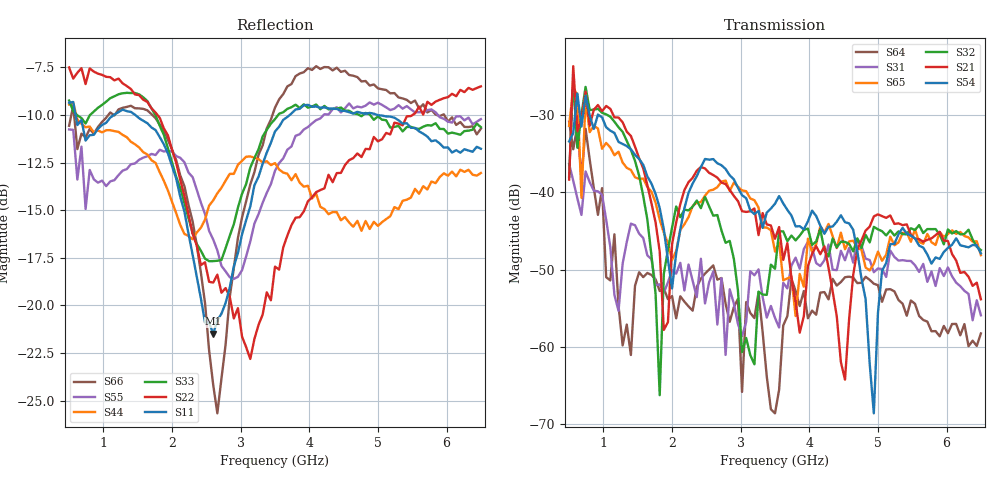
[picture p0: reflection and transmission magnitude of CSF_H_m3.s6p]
!Keysight Technologies,M9804A,MY58100912,A.14.10.03
!Date: Thursday, April 27, 2023 10:28:33
!Correction: S11(C  6-Port  )
!S12(C  6-Port  )
!S13(C  6-Port  )
!S14(C  6-Port  )
!S15(C  6-Port  )
!S16(C  6-Port  )
!S21(C  6-Port  )
!S22(C  6-Port  )
!S23(C  6-Port  )
!S24(C  6-Port  )
!S25(C  6-Port  )
!S26(C  6-Port  )
!S31(C  6-Port  )
!S32(C  6-Port  )
!S33(C  6-Port  )
!S34(C  6-Port  )
!S35(C  6-Port  )
!S36(C  6-Port  )
!S41(C  6-Port  )
!S42(C  6-Port  )
!S43(C  6-Port  )
!S44(C  6-Port  )
!S45(C  6-Port  )
!S46(C  6-Port  )
!S51(C  6-Port  )
!S52(C  6-Port  )
!S53(C  6-Port  )
!S54(C  6-Port  )
!S55(C  6-Port  )
!S56(C  6-Port  )
!S61(C  6-Port  )
!S62(C  6-Port  )
!S63(C  6-Port  )
!S64(C  6-Port  )
!S65(C  6-Port  )
!S66(C  6-Port  )
!S6P File: Measurement: :
# Hz S  RI  R 50
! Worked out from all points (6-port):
!   101 points, 500 MHz to 6.5 GHz, reference 50 ohm
!   strongest paths, dB at 500 MHz, 2 GHz, 3.5 GHz, 5 GHz, 6.5 GHz:
!     S54: -33.4, -52.4, -41.5, -55.6, -47.9
!     S21: -38.3, -46.7, -46.0, -42.8, -53.8
!     S32: -38.0, -44.6, -49.9, -44.8, -47.5
!     S65: -31.4, -48.8, -47.7, -47.7, -48.1
!     S31: -36.3, -50.1, -56.3, -49.9, -55.9
!     S64: -30.8, -53.4, -68.6, -52.0, -58.3
!   lowest |S11| = -21.5 dB at 2.6 GHz (marker M1), VSWR 1.18, Z = 42.5 + j2.22 ohm
!   |S11| at or under -10 dB: 593.6 MHz to 1.155 GHz (561.1 MHz wide, 64.2 % of centre); 1.463 GHz to 3.716 GHz (2.252 GHz wide, 87 % of centre); 4.988 GHz to end of sweep
